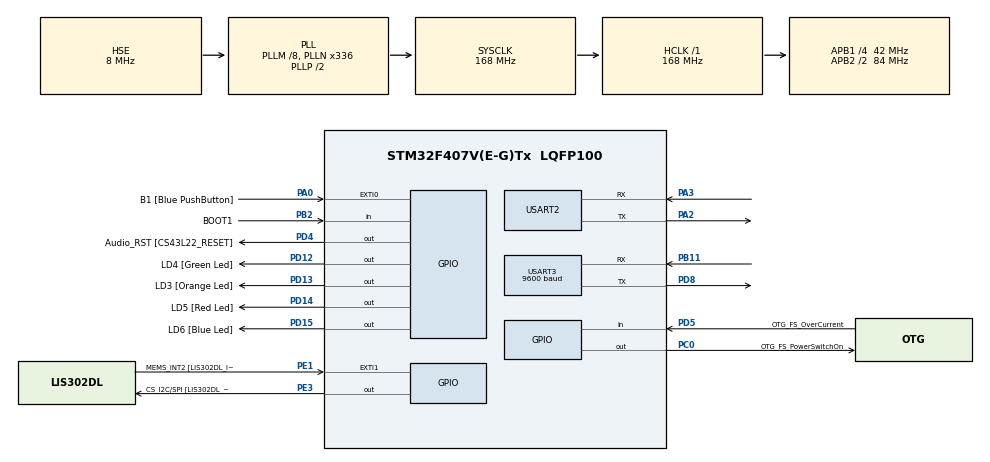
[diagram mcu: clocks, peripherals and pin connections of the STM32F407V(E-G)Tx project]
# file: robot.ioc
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Mcu.Family=STM32F4
Mcu.Name=STM32F407V(E-G)Tx
Mcu.Package=LQFP100
NVIC.PriorityGroup=NVIC_PRIORITYGROUP_0
NVIC.USART2_IRQn=true\:0\:0\:false\:false\:true\:true
NVIC.USART3_IRQn=true\:0\:0\:false\:false\:true\:true
PA0-WKUP.GPIO_Label=B1 [Blue PushButton]
PA0-WKUP.GPIO_ModeDefaultEXTI=GPIO_MODE_EVT_RISING
PA0-WKUP.GPIO_PuPd=GPIO_NOPULL
PA0-WKUP.Signal=GPXTI0
PA10.GPIO_Label=OTG_FS_ID
PA10.GPIO_Mode=GPIO_MODE_AF_PP
PA10.GPIO_PuPd=GPIO_NOPULL
PA10.GPIO_Speed=GPIO_SPEED_FREQ_LOW
PA10.Signal=USB_OTG_FS_ID
PA11.GPIO_Label=OTG_FS_DM
PA11.GPIO_Mode=GPIO_MODE_AF_PP
PA11.GPIO_PuPd=GPIO_NOPULL
PA11.GPIO_Speed=GPIO_SPEED_FREQ_LOW
PA11.Signal=USB_OTG_FS_DM
PA12.GPIO_Label=OTG_FS_DP
PA12.GPIO_Mode=GPIO_MODE_AF_PP
PA12.GPIO_PuPd=GPIO_NOPULL
PA12.GPIO_Speed=GPIO_SPEED_FREQ_LOW
PA12.Signal=USB_OTG_FS_DP
PA13.GPIO_Label=SWDIO
PA13.Mode=Serial_Wire
PA13.Signal=SYS_JTMS-SWDIO
PA14.GPIO_Label=SWCLK
PA14.Mode=Serial_Wire
PA14.Signal=SYS_JTCK-SWCLK
PA2.Mode=Asynchronous
PA2.Signal=USART2_TX
PA3.Mode=Asynchronous
PA3.Signal=USART2_RX
PA4.GPIO_Label=I2S3_WS [CS43L22_LRCK]
PA4.GPIO_Mode=GPIO_MODE_AF_PP
PA4.GPIO_PuPd=GPIO_NOPULL
PA4.GPIO_Speed=GPIO_SPEED_FREQ_LOW
PA4.Signal=I2S3_WS
PA5.GPIO_Label=SPI1_SCK [LIS302DL_SCL/SPC]
PA5.GPIO_Mode=GPIO_MODE_AF_PP
PA5.GPIO_PuPd=GPIO_NOPULL
PA5.GPIO_Speed=GPIO_SPEED_FREQ_LOW
PA5.Signal=SPI1_SCK
PA6.GPIO_Label=SPI1_MISO [LIS302DL_SDO]
PA6.GPIO_Mode=GPIO_MODE_AF_PP
PA6.GPIO_PuPd=GPIO_NOPULL
PA6.GPIO_Speed=GPIO_SPEED_FREQ_LOW
PA6.Signal=SPI1_MISO
PA7.GPIO_Label=SPI1_MOSI [LIS302DL_SDA/SDI/SDO]
PA7.GPIO_Mode=GPIO_MODE_AF_PP
PA7.GPIO_PuPd=GPIO_NOPULL
PA7.GPIO_Speed=GPIO_SPEED_FREQ_LOW
PA7.Signal=SPI1_MOSI
PA9.GPIO_Label=VBUS_FS
PA9.GPIO_Mode=GPIO_MODE_INPUT
PA9.GPIO_PuPd=GPIO_NOPULL
PA9.Signal=USB_OTG_FS_VBUS
PB10.GPIO_Label=CLK_IN [MP45DT02_CLK]
PB10.GPIO_Mode=GPIO_MODE_AF_PP
PB10.GPIO_PuPd=GPIO_NOPULL
PB10.GPIO_Speed=GPIO_SPEED_FREQ_LOW
PB10.Signal=I2S2_CK
PB11.Mode=Asynchronous
PB11.Signal=USART3_RX
PB2.GPIO_Label=BOOT1
PB2.GPIO_Mode=GPIO_MODE_INPUT
PB2.GPIO_PuPd=GPIO_NOPULL
PB2.Signal=GPIO_Input
PB3.GPIO_Label=SWO
PB3.Signal=SYS_JTDO-SWO
PB6.GPIO_Label=Audio_SCL [CS43L22_SCL]
PB6.GPIO_Mode=GPIO_MODE_AF_OD
PB6.GPIO_PuPd=GPIO_NOPULL
PB6.GPIO_Speed=GPIO_SPEED_FREQ_LOW
PB6.Signal=I2C1_SCL
PB9.GPIO_Label=Audio_SDA [CS43L22_SDA]
PB9.GPIO_Mode=GPIO_MODE_AF_OD
PB9.GPIO_PuPd=GPIO_NOPULL
PB9.GPIO_Speed=GPIO_SPEED_FREQ_LOW
PB9.Signal=I2C1_SDA
PC0.GPIO_Label=OTG_FS_PowerSwitchOn
PC0.GPIO_PuPd=GPIO_NOPULL
PC0.GPIO_Speed=GPIO_SPEED_FREQ_LOW
PC0.PinState=GPIO_PIN_SET
PC0.Signal=GPIO_Output
PC10.GPIO_Label=I2S3_SCK [CS43L22_SCLK]
PC10.GPIO_Mode=GPIO_MODE_AF_PP
PC10.GPIO_PuPd=GPIO_NOPULL
PC10.GPIO_Speed=GPIO_SPEED_FREQ_LOW
PC10.Signal=I2S3_CK
PC12.GPIO_Label=I2S3_SD [CS43L22_SDIN]
PC12.GPIO_Mode=GPIO_MODE_AF_PP
PC12.GPIO_PuPd=GPIO_NOPULL
PC12.GPIO_Speed=GPIO_SPEED_FREQ_LOW
PC12.Signal=I2S3_SD
PC14-OSC32_IN.GPIO_Label=PC14-OSC32_IN
PC14-OSC32_IN.Mode=LSE-External-Oscillator
PC14-OSC32_IN.Signal=RCC_OSC32_IN
PC15-OSC32_OUT.GPIO_Label=PC15-OSC32_OUT
PC15-OSC32_OUT.Mode=LSE-External-Oscillator
PC15-OSC32_OUT.Signal=RCC_OSC32_OUT
PC3.GPIO_Label=PDM_OUT [MP45DT02_DOUT]
PC3.GPIO_Mode=GPIO_MODE_AF_PP
PC3.GPIO_PuPd=GPIO_NOPULL
PC3.GPIO_Speed=GPIO_SPEED_FREQ_LOW
PC3.Signal=I2S2_SD
PC7.GPIO_Label=I2S3_MCK [CS43L22_MCLK]
PC7.GPIO_Mode=GPIO_MODE_AF_PP
PC7.GPIO_PuPd=GPIO_NOPULL
PC7.GPIO_Speed=GPIO_SPEED_FREQ_LOW
PC7.Signal=I2S3_MCK
PD12.GPIO_Label=LD4 [Green Led]
PD12.GPIO_PuPd=GPIO_NOPULL
PD12.GPIO_Speed=GPIO_SPEED_FREQ_LOW
PD12.Signal=GPIO_Output
PD13.GPIO_Label=LD3 [Orange Led]
PD13.GPIO_PuPd=GPIO_NOPULL
PD13.GPIO_Speed=GPIO_SPEED_FREQ_LOW
PD13.Signal=GPIO_Output
PD14.GPIO_Label=LD5 [Red Led]
PD14.GPIO_PuPd=GPIO_NOPULL
PD14.GPIO_Speed=GPIO_SPEED_FREQ_LOW
PD14.Signal=GPIO_Output
PD15.GPIO_Label=LD6 [Blue Led]
PD15.GPIO_PuPd=GPIO_NOPULL
PD15.GPIO_Speed=GPIO_SPEED_FREQ_LOW
PD15.Signal=GPIO_Output
PD4.GPIO_Label=Audio_RST [CS43L22_RESET]
PD4.GPIO_PuPd=GPIO_NOPULL
PD4.GPIO_Speed=GPIO_SPEED_FREQ_LOW
PD4.Signal=GPIO_Output
PD5.GPIO_Label=OTG_FS_OverCurrent
PD5.GPIO_Mode=GPIO_MODE_INPUT
PD5.GPIO_PuPd=GPIO_NOPULL
PD5.Signal=GPIO_Input
PD8.Mode=Asynchronous
PD8.Signal=USART3_TX
PE1.GPIO_Label=MEMS_INT2 [LIS302DL_INT2]
PE1.GPIO_ModeDefaultEXTI=GPIO_MODE_EVT_RISING
PE1.GPIO_PuPd=GPIO_NOPULL
PE1.Signal=GPXTI1
PE3.GPIO_Label=CS_I2C/SPI [LIS302DL_CS_I2C/SPI]
PE3.GPIO_PuPd=GPIO_NOPULL
PE3.GPIO_Speed=GPIO_SPEED_FREQ_LOW
PE3.Signal=GPIO_Output
PH0-OSC_IN.GPIO_Label=PH0-OSC_IN
PH0-OSC_IN.Mode=HSE-External-Oscillator
PH0-OSC_IN.Signal=RCC_OSC_IN
PH1-OSC_OUT.GPIO_Label=PH1-OSC_OUT
PH1-OSC_OUT.Mode=HSE-External-Oscillator
PH1-OSC_OUT.Signal=RCC_OSC_OUT
ProjectManager.HeapSize=0x200
ProjectManager.StackSize=0x400
ProjectManager.TargetToolchain=MDK-ARM V5
RCC.48MHZClocksFreq_Value=48000000
RCC.AHBFreq_Value=168000000
RCC.APB1CLKDivider=RCC_HCLK_DIV4
RCC.APB1Freq_Value=42000000
RCC.APB1TimFreq_Value=84000000
RCC.APB2CLKDivider=RCC_HCLK_DIV2
RCC.APB2Freq_Value=84000000
RCC.APB2TimFreq_Value=168000000
RCC.CortexFreq_Value=168000000
RCC.HCLKFreq_Value=168000000
RCC.HSE_VALUE=8000000
RCC.HSI_VALUE=16000000
RCC.PLLM=8
RCC.PLLN=336
RCC.PLLQ=7
RCC.PLLSourceVirtual=RCC_PLLSOURCE_HSE
RCC.SYSCLKFreq_VALUE=168000000
RCC.SYSCLKSource=RCC_SYSCLKSOURCE_PLLCLK
RCC.VCOOutputFreq_Value=336000000
USART2.VirtualMode=VM_ASYNC
USART3.BaudRate=9600
USART3.VirtualMode=VM_ASYNC
board=STM32F4DISCOVERY

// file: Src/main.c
/**
  ******************************************************************************
  * @file           : main.c
  * @brief          : Main program body
  ******************************************************************************
  ** This notice applies to any and all portions of this file
  * that are not between comment pairs USER CODE BEGIN and
  * USER CODE END. Other portions of this file, whether
  * inserted by the user or by software development tools
  * are owned by their respective copyright owners.
  *
  * COPYRIGHT(c) 2018 STMicroelectronics
  *
  * Redistribution and use in source and binary forms, with or without modification,
  * are permitted provided that the following conditions are met:
  *   1. Redistributions of source code must retain the above copyright notice,
  *      this list of conditions and the following disclaimer.
  *   2. Redistributions in binary form must reproduce the above copyright notice,
  *      this list of conditions and the following disclaimer in the documentation
  *      and/or other materials provided with the distribution.
  *   3. Neither the name of STMicroelectronics nor the names of its contributors
  *      may be used to endorse or promote products derived from this software
  *      without specific prior written permission.
  *
  * THIS SOFTWARE IS PROVIDED BY THE COPYRIGHT HOLDERS AND CONTRIBUTORS "AS IS"
  * AND ANY EXPRESS OR IMPLIED WARRANTIES, INCLUDING, BUT NOT LIMITED TO, THE
  * IMPLIED WARRANTIES OF MERCHANTABILITY AND FITNESS FOR A PARTICULAR PURPOSE ARE
  * DISCLAIMED. IN NO EVENT SHALL THE COPYRIGHT HOLDER OR CONTRIBUTORS BE LIABLE
  * FOR ANY DIRECT, INDIRECT, INCIDENTAL, SPECIAL, EXEMPLARY, OR CONSEQUENTIAL
  * DAMAGES (INCLUDING, BUT NOT LIMITED TO, PROCUREMENT OF SUBSTITUTE GOODS OR
  * SERVICES; LOSS OF USE, DATA, OR PROFITS; OR BUSINESS INTERRUPTION) HOWEVER
  * CAUSED AND ON ANY THEORY OF LIABILITY, WHETHER IN CONTRACT, STRICT LIABILITY,
  * OR TORT (INCLUDING NEGLIGENCE OR OTHERWISE) ARISING IN ANY WAY OUT OF THE USE
  * OF THIS SOFTWARE, EVEN IF ADVISED OF THE POSSIBILITY OF SUCH DAMAGE.
  *
  ******************************************************************************
  */
#include "main.h"
#include "stm32f4xx_hal.h"

/* USER CODE BEGIN Includes */
#include <math.h>
#include <string.h>
#include <stdlib.h>
/* USER CODE END Includes */

UART_HandleTypeDef huart2;
UART_HandleTypeDef huart3;

/* USER CODE BEGIN PV */
/* Private variables ---------------------------------------------------------*/

/* USER CODE END PV */

void SystemClock_Config(void);
static void MX_GPIO_Init(void);
static void MX_USART2_UART_Init(void);
static void MX_USART3_UART_Init(void);

/* USER CODE BEGIN PFP */
/* Private function prototypes -----------------------------------------------*/
void HAL_UART_RxCpltCallback(UART_HandleTypeDef *huart2);     // Prototipe for receive data from
int getNumbers(char *str, char *value);                     	//
// Bufers for UART
//int i=0;
int len;
char buffer[100];
char Rx_indx, Rx_data[2],Rx_Buffer[100],Transfer_cplt;

// Variable for accwlwrometr and giroscope data
int X1=0, Y1=0, Z1=0;				// For accelerometr nead OLED
int X2=0, Y2=0, Z2=0;
int X3=0, Y3=0, Z3=0;
int X4=0, Y4=0, Z4=0;
int X5=0, Y5=0, Z5=0;
int X6=0, Y6=0, Z6=0;

/* USER CODE END PFP */

int main(void)
{

  /* MCU Configuration----------------------------------------------------------*/

  /* Reset of all peripherals, Initializes the Flash interface and the Systick. */
  HAL_Init();

  /* Configure the system clock */
  SystemClock_Config();

  /* Initialize all configured peripherals */
  MX_GPIO_Init();
  MX_USART2_UART_Init();
  MX_USART3_UART_Init();
  /* USER CODE BEGIN 2 */
  HAL_UART_Receive_IT(&huart2 ,(uint8_t*) Rx_data,1);    // Start UART
  /* USER CODE END 2 */

  /* Infinite loop */
  /* USER CODE BEGIN WHILE */
  while (1)
  {
		  HAL_Delay(500);
		  char buffer_tr[10]={0};
//		 sprintf(buffer_tr, "TEST \r\n");
//		 HAL_UART_Transmit(&huart2, (uint8_t*)buffer_tr, 10, 1000);

			if(Transfer_cplt)        							 // If string hes Enter/#013 in the end transmiting paket.
		  {
					Transfer_cplt=0;     							 // For get of
					//------------------------------
					//  Print what data reseive in STM
					//  Receive pacet MUST be X123Y456Z-789 #013 - in terminal
					sprintf(buffer, "%s \r\n",Rx_Buffer);   										// Print what we transmit in STM
					len=strlen(buffer);
					HAL_UART_Transmit(&huart2, (uint8_t *)buffer, len, 1000);  // Transmit data
					//

					//-----------------------------------------------------------------------------------------
					// PARSING STRING
					char *str = Rx_Buffer;					   // Pointer for buffer       Rx_data;	  // Rx_Buffer;
					char firstCmd[4], secondCmd[4];

				  while(*str != '\r' && *str != '\0' && *str != '\n')
					 {
							 switch(*str)
							 {
								 case 'X':
											X1=getNumbers(str, firstCmd);    							// Get X1
									 break;

								 case 'Y':
									    Y1=getNumbers(str, secondCmd);								// Get Y1
									 break;

								 case 'Z':
									    Z1=getNumbers(str, secondCmd);   							// Get Z1
									 break;
							 }
							  str++;																							// For step on string
					 }
					 //-----------------------------------------------------------------------------------------
					 // Print parsing data from hands.
					 sprintf(buffer, "X1: %d, Y1: %d, Z1: %d\r\n", X1, Y1, Z1);   										// Print what we transmit in STM
					 len=strlen(buffer);
					 HAL_UART_Transmit(&huart2, (uint8_t *)buffer, len, 1000);  // Transmit data
					 //-----------------------------------------------------------------------------------------

				   // LED indicate receive data
				   HAL_GPIO_TogglePin(GPIOD, GPIO_PIN_15);
		  }
  /* USER CODE END WHILE */

  }

}

void SystemClock_Config(void)
{

  RCC_OscInitTypeDef RCC_OscInitStruct;
  RCC_ClkInitTypeDef RCC_ClkInitStruct;

    /**Configure the main internal regulator output voltage
    */
  __HAL_RCC_PWR_CLK_ENABLE();

  __HAL_PWR_VOLTAGESCALING_CONFIG(PWR_REGULATOR_VOLTAGE_SCALE1);

    /**Initializes the CPU, AHB and APB busses clocks
    */
  RCC_OscInitStruct.OscillatorType = RCC_OSCILLATORTYPE_HSE;
  RCC_OscInitStruct.HSEState = RCC_HSE_ON;
  RCC_OscInitStruct.PLL.PLLState = RCC_PLL_ON;
  RCC_OscInitStruct.PLL.PLLSource = RCC_PLLSOURCE_HSE;
  RCC_OscInitStruct.PLL.PLLM = 8;
  RCC_OscInitStruct.PLL.PLLN = 336;
  RCC_OscInitStruct.PLL.PLLP = RCC_PLLP_DIV2;
  RCC_OscInitStruct.PLL.PLLQ = 7;
  if (HAL_RCC_OscConfig(&RCC_OscInitStruct) != HAL_OK)
  {
    _Error_Handler(__FILE__, __LINE__);
  }

    /**Initializes the CPU, AHB and APB busses clocks
    */
  RCC_ClkInitStruct.ClockType = RCC_CLOCKTYPE_HCLK|RCC_CLOCKTYPE_SYSCLK
                              |RCC_CLOCKTYPE_PCLK1|RCC_CLOCKTYPE_PCLK2;
  RCC_ClkInitStruct.SYSCLKSource = RCC_SYSCLKSOURCE_PLLCLK;
  RCC_ClkInitStruct.AHBCLKDivider = RCC_SYSCLK_DIV1;
  RCC_ClkInitStruct.APB1CLKDivider = RCC_HCLK_DIV4;
  RCC_ClkInitStruct.APB2CLKDivider = RCC_HCLK_DIV2;

  if (HAL_RCC_ClockConfig(&RCC_ClkInitStruct, FLASH_LATENCY_5) != HAL_OK)
  {
    _Error_Handler(__FILE__, __LINE__);
  }

    /**Configure the Systick interrupt time
    */
  HAL_SYSTICK_Config(HAL_RCC_GetHCLKFreq()/1000);

    /**Configure the Systick
    */
  HAL_SYSTICK_CLKSourceConfig(SYSTICK_CLKSOURCE_HCLK);

  /* SysTick_IRQn interrupt configuration */
  HAL_NVIC_SetPriority(SysTick_IRQn, 0, 0);
}

/* USART2 init function */
static void MX_USART2_UART_Init(void)
{

  huart2.Instance = USART2;
  huart2.Init.BaudRate = 115200;
  huart2.Init.WordLength = UART_WORDLENGTH_8B;
  huart2.Init.StopBits = UART_STOPBITS_1;
  huart2.Init.Parity = UART_PARITY_NONE;
  huart2.Init.Mode = UART_MODE_TX_RX;
  huart2.Init.HwFlowCtl = UART_HWCONTROL_NONE;
  huart2.Init.OverSampling = UART_OVERSAMPLING_16;
  if (HAL_UART_Init(&huart2) != HAL_OK)
  {
    _Error_Handler(__FILE__, __LINE__);
  }

}

/* USART3 init function */
static void MX_USART3_UART_Init(void)
{

  huart3.Instance = USART3;
  huart3.Init.BaudRate = 9600;
  huart3.Init.WordLength = UART_WORDLENGTH_8B;
  huart3.Init.StopBits = UART_STOPBITS_1;
  huart3.Init.Parity = UART_PARITY_NONE;
  huart3.Init.Mode = UART_MODE_TX_RX;
  huart3.Init.HwFlowCtl = UART_HWCONTROL_NONE;
  huart3.Init.OverSampling = UART_OVERSAMPLING_16;
  if (HAL_UART_Init(&huart3) != HAL_OK)
  {
    _Error_Handler(__FILE__, __LINE__);
  }

}

/** Configure pins as
        * Analog
        * Input
        * Output
        * EVENT_OUT
        * EXTI
     PC3   ------> I2S2_SD
     PA4   ------> I2S3_WS
     PA5   ------> SPI1_SCK
     PA6   ------> SPI1_MISO
     PA7   ------> SPI1_MOSI
     PB10   ------> I2S2_CK
     PC7   ------> I2S3_MCK
     PA9   ------> USB_OTG_FS_VBUS
     PA10   ------> USB_OTG_FS_ID
     PA11   ------> USB_OTG_FS_DM
     PA12   ------> USB_OTG_FS_DP
     PC10   ------> I2S3_CK
     PC12   ------> I2S3_SD
     PB6   ------> I2C1_SCL
     PB9   ------> I2C1_SDA
*/
static void MX_GPIO_Init(void)
{

  GPIO_InitTypeDef GPIO_InitStruct;

  /* GPIO Ports Clock Enable */
  __HAL_RCC_GPIOE_CLK_ENABLE();
  __HAL_RCC_GPIOC_CLK_ENABLE();
  __HAL_RCC_GPIOH_CLK_ENABLE();
  __HAL_RCC_GPIOA_CLK_ENABLE();
  __HAL_RCC_GPIOB_CLK_ENABLE();
  __HAL_RCC_GPIOD_CLK_ENABLE();

  /*Configure GPIO pin Output Level */
  HAL_GPIO_WritePin(CS_I2C_SPI_GPIO_Port, CS_I2C_SPI_Pin, GPIO_PIN_RESET);

  /*Configure GPIO pin Output Level */
  HAL_GPIO_WritePin(OTG_FS_PowerSwitchOn_GPIO_Port, OTG_FS_PowerSwitchOn_Pin, GPIO_PIN_SET);

  /*Configure GPIO pin Output Level */
  HAL_GPIO_WritePin(GPIOD, LD4_Pin|LD3_Pin|LD5_Pin|LD6_Pin
                          |Audio_RST_Pin, GPIO_PIN_RESET);

  /*Configure GPIO pin : CS_I2C_SPI_Pin */
  GPIO_InitStruct.Pin = CS_I2C_SPI_Pin;
  GPIO_InitStruct.Mode = GPIO_MODE_OUTPUT_PP;
  GPIO_InitStruct.Pull = GPIO_NOPULL;
  GPIO_InitStruct.Speed = GPIO_SPEED_FREQ_LOW;
  HAL_GPIO_Init(CS_I2C_SPI_GPIO_Port, &GPIO_InitStruct);

  /*Configure GPIO pin : OTG_FS_PowerSwitchOn_Pin */
  GPIO_InitStruct.Pin = OTG_FS_PowerSwitchOn_Pin;
  GPIO_InitStruct.Mode = GPIO_MODE_OUTPUT_PP;
  GPIO_InitStruct.Pull = GPIO_NOPULL;
  GPIO_InitStruct.Speed = GPIO_SPEED_FREQ_LOW;
  HAL_GPIO_Init(OTG_FS_PowerSwitchOn_GPIO_Port, &GPIO_InitStruct);

  /*Configure GPIO pin : PDM_OUT_Pin */
  GPIO_InitStruct.Pin = PDM_OUT_Pin;
  GPIO_InitStruct.Mode = GPIO_MODE_AF_PP;
  GPIO_InitStruct.Pull = GPIO_NOPULL;
  GPIO_InitStruct.Speed = GPIO_SPEED_FREQ_LOW;
  GPIO_InitStruct.Alternate = GPIO_AF5_SPI2;
  HAL_GPIO_Init(PDM_OUT_GPIO_Port, &GPIO_InitStruct);

  /*Configure GPIO pin : B1_Pin */
  GPIO_InitStruct.Pin = B1_Pin;
  GPIO_InitStruct.Mode = GPIO_MODE_EVT_RISING;
  GPIO_InitStruct.Pull = GPIO_NOPULL;
  HAL_GPIO_Init(B1_GPIO_Port, &GPIO_InitStruct);

  /*Configure GPIO pin : I2S3_WS_Pin */
  GPIO_InitStruct.Pin = I2S3_WS_Pin;
  GPIO_InitStruct.Mode = GPIO_MODE_AF_PP;
  GPIO_InitStruct.Pull = GPIO_NOPULL;
  GPIO_InitStruct.Speed = GPIO_SPEED_FREQ_LOW;
  GPIO_InitStruct.Alternate = GPIO_AF6_SPI3;
  HAL_GPIO_Init(I2S3_WS_GPIO_Port, &GPIO_InitStruct);

  /*Configure GPIO pins : SPI1_SCK_Pin SPI1_MISO_Pin SPI1_MOSI_Pin */
  GPIO_InitStruct.Pin = SPI1_SCK_Pin|SPI1_MISO_Pin|SPI1_MOSI_Pin;
  GPIO_InitStruct.Mode = GPIO_MODE_AF_PP;
  GPIO_InitStruct.Pull = GPIO_NOPULL;
  GPIO_InitStruct.Speed = GPIO_SPEED_FREQ_LOW;
  GPIO_InitStruct.Alternate = GPIO_AF5_SPI1;
  HAL_GPIO_Init(GPIOA, &GPIO_InitStruct);

  /*Configure GPIO pin : BOOT1_Pin */
  GPIO_InitStruct.Pin = BOOT1_Pin;
  GPIO_InitStruct.Mode = GPIO_MODE_INPUT;
  GPIO_InitStruct.Pull = GPIO_NOPULL;
  HAL_GPIO_Init(BOOT1_GPIO_Port, &GPIO_InitStruct);

  /*Configure GPIO pin : CLK_IN_Pin */
  GPIO_InitStruct.Pin = CLK_IN_Pin;
  GPIO_InitStruct.Mode = GPIO_MODE_AF_PP;
  GPIO_InitStruct.Pull = GPIO_NOPULL;
  GPIO_InitStruct.Speed = GPIO_SPEED_FREQ_LOW;
  GPIO_InitStruct.Alternate = GPIO_AF5_SPI2;
  HAL_GPIO_Init(CLK_IN_GPIO_Port, &GPIO_InitStruct);

  /*Configure GPIO pins : LD4_Pin LD3_Pin LD5_Pin LD6_Pin
                           Audio_RST_Pin */
  GPIO_InitStruct.Pin = LD4_Pin|LD3_Pin|LD5_Pin|LD6_Pin
                          |Audio_RST_Pin;
  GPIO_InitStruct.Mode = GPIO_MODE_OUTPUT_PP;
  GPIO_InitStruct.Pull = GPIO_NOPULL;
  GPIO_InitStruct.Speed = GPIO_SPEED_FREQ_LOW;
  HAL_GPIO_Init(GPIOD, &GPIO_InitStruct);

  /*Configure GPIO pins : I2S3_MCK_Pin I2S3_SCK_Pin I2S3_SD_Pin */
  GPIO_InitStruct.Pin = I2S3_MCK_Pin|I2S3_SCK_Pin|I2S3_SD_Pin;
  GPIO_InitStruct.Mode = GPIO_MODE_AF_PP;
  GPIO_InitStruct.Pull = GPIO_NOPULL;
  GPIO_InitStruct.Speed = GPIO_SPEED_FREQ_LOW;
  GPIO_InitStruct.Alternate = GPIO_AF6_SPI3;
  HAL_GPIO_Init(GPIOC, &GPIO_InitStruct);

  /*Configure GPIO pin : VBUS_FS_Pin */
  GPIO_InitStruct.Pin = VBUS_FS_Pin;
  GPIO_InitStruct.Mode = GPIO_MODE_INPUT;
  GPIO_InitStruct.Pull = GPIO_NOPULL;
  HAL_GPIO_Init(VBUS_FS_GPIO_Port, &GPIO_InitStruct);

  /*Configure GPIO pins : OTG_FS_ID_Pin OTG_FS_DM_Pin OTG_FS_DP_Pin */
  GPIO_InitStruct.Pin = OTG_FS_ID_Pin|OTG_FS_DM_Pin|OTG_FS_DP_Pin;
  GPIO_InitStruct.Mode = GPIO_MODE_AF_PP;
  GPIO_InitStruct.Pull = GPIO_NOPULL;
  GPIO_InitStruct.Speed = GPIO_SPEED_FREQ_LOW;
  GPIO_InitStruct.Alternate = GPIO_AF10_OTG_FS;
  HAL_GPIO_Init(GPIOA, &GPIO_InitStruct);

  /*Configure GPIO pin : OTG_FS_OverCurrent_Pin */
  GPIO_InitStruct.Pin = OTG_FS_OverCurrent_Pin;
  GPIO_InitStruct.Mode = GPIO_MODE_INPUT;
  GPIO_InitStruct.Pull = GPIO_NOPULL;
  HAL_GPIO_Init(OTG_FS_OverCurrent_GPIO_Port, &GPIO_InitStruct);

  /*Configure GPIO pins : Audio_SCL_Pin Audio_SDA_Pin */
  GPIO_InitStruct.Pin = Audio_SCL_Pin|Audio_SDA_Pin;
  GPIO_InitStruct.Mode = GPIO_MODE_AF_OD;
  GPIO_InitStruct.Pull = GPIO_PULLUP;
  GPIO_InitStruct.Speed = GPIO_SPEED_FREQ_LOW;
  GPIO_InitStruct.Alternate = GPIO_AF4_I2C1;
  HAL_GPIO_Init(GPIOB, &GPIO_InitStruct);

  /*Configure GPIO pin : MEMS_INT2_Pin */
  GPIO_InitStruct.Pin = MEMS_INT2_Pin;
  GPIO_InitStruct.Mode = GPIO_MODE_EVT_RISING;
  GPIO_InitStruct.Pull = GPIO_NOPULL;
  HAL_GPIO_Init(MEMS_INT2_GPIO_Port, &GPIO_InitStruct);

}

/* USER CODE BEGIN 4 */
void HAL_UART_RxCpltCallback(UART_HandleTypeDef *huart2)
{
	// It finctinon called when in buffer UART has one byte
	uint8_t i;
	if(Rx_indx==0)
	{
			for(i=0;i<100;i++)																	// Clar buffer before receiving nev data.
			{
					Rx_Buffer[i]=0;
			}
		}
	if(Rx_data[0]!=13)																			// If check if it byte is not "Enter".
	{
			Rx_Buffer[Rx_indx++]=Rx_data[0];
	}
	else
	{
		Rx_indx=0;
		Transfer_cplt=1;												 							// Buffer complete, data ready to read.
	}
	HAL_UART_Receive_IT(huart2, (uint8_t*)Rx_data,1);
}

int getNumbers(char *str, char *value)
{
   int i = 0;
   str++;
   while(('0' <= *str && *str <= '9') || *str == '-')
   {
     value[i] = *str;
     i++;
     str++;
   }
   value[i] = '\0';

	 // Print data like string
	 sprintf(buffer, "%s \r\n",value);   										// Print what we transmit in STM  ????????
	 //len=strlen(buffer);
	 //HAL_UART_Transmit(&huart2, (uint8_t *)buffer, len, 1000);  // Transmit data
	 //HAL_Delay(500);

	 // Convert string in number
	 int number=0;
	 number=atoi(buffer);

return  number;
}

/* USER CODE END 4 */

void _Error_Handler(char *file, int line)
{
  while(1)
  {
  }
}

/************************ (C) COPYRIGHT STMicroelectronics *****END OF FILE****/
